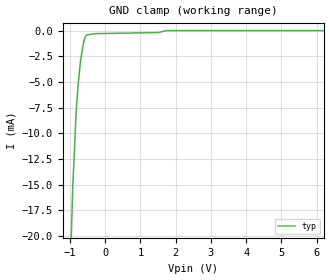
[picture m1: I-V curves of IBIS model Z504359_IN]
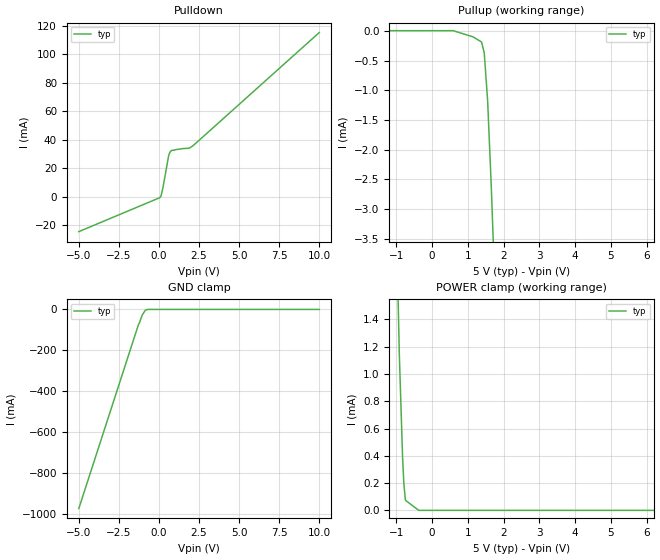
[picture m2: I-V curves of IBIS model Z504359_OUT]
| YOU ARE ONLY AUTHORIZED TO USE THIS SOFTWARE
| ACCORDING TO LICENSOR'S LICENSE RESTRICTIONS.
[IBIS Ver] 3.1
[File Name] sn54ls04j.ibs
[File Rev] 2.0
[Source] Measured and created by ICX Technology
[Date] Friday 7/14/00 9:08:13 AM
[Copyright]
| (C) COPYRIGHT 1993-2000
| MENTOR GRAPHICS CORPORATION
| ICX STANDARD LIBRARY, ICX PROJECT MODELING,
| ICX CUSTOM MODELING, ICX VENDOR MODEL
| ALL RIGHTS RESERVED.
| THE FOLLOWING ARE TRADEMARKS OR SERVICE MARKS OF
| MENTOR GRAPHICS CORPORATION:ICX (R), ICX STANDARD
| LIBRARY(R), ICX PROJECT MODELING(R), ICX CUSTOM
| MODELING(R), qualityIBIS(TM), MODELVIEWER(TM),
| AND MODELEDITOR(TM)
| ALL COPIES OF SOFTWARE, INCLUDING BUT NOT LIMITED TO
| ANY MODIFICATIONS, ENHANCEMENTS OR DERIVATIVE WORKS,
| MUST CONTAIN ALL MENTOR GRAPHICS CORPORATION'S
| NOTICES AND LEGENDS, INCLUDING THOSE EMBEDDED IN
| SOFTWARE AND THOSE AFFIXED TO SOFTWARE MEDIUM
| AND CONTAINER, AS RECEIVED FROM MENTOR GRAPHICS
| CORPORATION.
|  ZAP Model Builder 2.7
[Component] SN54LS04J
[Manufacturer] OnSemiconductor
[Package]
| variable   typ   min   max
R_pkg  .21ohms NA NA
L_pkg  4.543nH NA NA
C_pkg  1.8pF NA NA
[Pin] signal_name  model_name  R_pin  L_pin C_pin
1 A Z504359_IN .22 6.757n 2.434p
2 Y Z504359_OUT .212 4.757n 1.941p
3 A Z504359_IN .204 3.257n 1.448p
4 Y Z504359_OUT .196 2.257n .955p
5 A Z504359_IN .204 3.257n 1.448p
6 Y Z504359_OUT .212 4.757n 1.941p
7 GND GND .22 6.757n 2.434p
8 Y Z504359_OUT .22 6.757n 2.434p
9 A Z504359_IN .212 4.757n 1.941p
10 Y Z504359_OUT .204 3.257n 1.448p
11 A Z504359_IN .196 2.257n .955p
12 Y Z504359_OUT .204 3.257n 1.448p
13 A Z504359_IN .212 4.757n 1.941p
14 VCC POWER .22 6.757n 2.434p
| Models and submodels in the file (2): Z504359_IN (Input), Z504359_OUT (Output)
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| (C) COPYRIGHT 1993-2000
| MENTOR GRAPHICS CORPORATION
| ICX STANDARD LIBRARY, ICX PROJECT MODELING,
| ICX CUSTOM MODELING, ICX VENDOR MODEL
| ALL RIGHTS RESERVED.
| THE FOLLOWING ARE TRADEMARKS OR SERVICE MARKS OF
| MENTOR GRAPHICS CORPORATION:ICX (R), ICX STANDARD
| LIBRARY(R), ICX PROJECT MODELING(R), ICX CUSTOM
| MODELING(R), qualityIBIS(TM), MODELVIEWER(TM),
| AND MODELEDITOR(TM)
| ALL COPIES OF SOFTWARE, INCLUDING BUT NOT LIMITED TO
| ANY MODIFICATIONS, ENHANCEMENTS OR DERIVATIVE WORKS,
| MUST CONTAIN ALL MENTOR GRAPHICS CORPORATION'S
| NOTICES AND LEGENDS, INCLUDING THOSE EMBEDDED IN
| SOFTWARE AND THOSE AFFIXED TO SOFTWARE MEDIUM
| AND CONTAINER, AS RECEIVED FROM MENTOR GRAPHICS
| CORPORATION.
| Model Application Version 1.89 2/18/99.
[Model] Z504359_IN
Model_type Input
Vinl = 800.0mV
Vinh = 2.000V
C_comp 4.000pF NA NA
| variable typ   min   max
[Voltage Range] 5.000V NA NA
[GND Clamp Reference] 0.000V NA NA
[POWER Clamp Reference] 5.000V NA NA
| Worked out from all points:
|   GND clamp passes 1 mA (typ) near -0.60 V on its own axis
[GND Clamp]
-5V       -479.9mA   NA         NA
-913.7mV  -14.96mA   NA         NA
-824.1mV  -8.13mA    NA         NA
-771.5mV  -5.53mA    NA         NA
-698.5mV  -2.991mA   NA         NA
-600.1mV  -982.4uA   NA         NA
-563.9mV  -629.8uA   NA         NA
-527.3mV  -431.5uA   NA         NA
-263.7mV  -301.5uA   NA         NA
1.525V    -195.2uA   NA         NA
1.724V    -5.916uA   NA         NA
10V       -5.916uA   NA         NA
[POWER Clamp]
-5V       0A         NA         NA
10V       0A         NA         NA
| (C) COPYRIGHT 1993-2000
| MENTOR GRAPHICS CORPORATION
| ICX STANDARD LIBRARY, ICX PROJECT MODELING,
| ICX CUSTOM MODELING, ICX VENDOR MODEL
| ALL RIGHTS RESERVED.
| THE FOLLOWING ARE TRADEMARKS OR SERVICE MARKS OF
| MENTOR GRAPHICS CORPORATION:ICX (R), ICX STANDARD
| LIBRARY(R), ICX PROJECT MODELING(R), ICX CUSTOM
| MODELING(R), qualityIBIS(TM), MODELVIEWER(TM),
| AND MODELEDITOR(TM)
| ALL COPIES OF SOFTWARE, INCLUDING BUT NOT LIMITED TO
| ANY MODIFICATIONS, ENHANCEMENTS OR DERIVATIVE WORKS,
| MUST CONTAIN ALL MENTOR GRAPHICS CORPORATION'S
| NOTICES AND LEGENDS, INCLUDING THOSE EMBEDDED IN
| SOFTWARE AND THOSE AFFIXED TO SOFTWARE MEDIUM
| AND CONTAINER, AS RECEIVED FROM MENTOR GRAPHICS
| CORPORATION.
| Model Application Version 1.89 2/18/99.
[Model] Z504359_OUT
Model_type Output
Vref=5.000V
Rref=2.000kohms
Cref=15.00pF
Vmeas=1.300V
C_comp 8.000pF NA NA
| variable typ   min   max
[Voltage Range] 5.000V NA NA
[POWER Clamp Reference] 5.000V NA NA
[Pullup Reference] 5.000V NA NA
[Pulldown Reference] 0.000V NA NA
[GND Clamp Reference] 0.000V NA NA
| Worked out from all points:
|   slope of the pulldown table from 0 to 0.75 V, typ, clamps not added: 22.6 ohm
|   slope of the pullup table from 0 to 0.75 V, typ, clamps not added: 24.6 kohm
|   GND clamp passes 1 mA (typ) near -0.74 V on its own axis
|   POWER clamp passes 1 mA (typ) near -0.90 V on its own axis
[GND Clamp]
-5V       -972.4mA   NA         NA
-1.279V   -74.19mA   NA         NA
-1.191V   -61.07mA   NA         NA
-1.101V   -38.2mA    NA         NA
-1.015V   -24.04mA   NA         NA
-874mV    -6.755mA   NA         NA
-820.3mV  -2.618mA   NA         NA
-683.6mV  0A         NA         NA
10V       0A         NA         NA
[Pulldown]
-5V       -24.61mA   NA         NA
68.44mV   -517.1uA   NA         NA
131.5mV   556.9uA    NA         NA
243mV     5.879mA    NA         NA
596.2mV   28.24mA    NA         NA
654.2mV   30.47mA    NA         NA
713.9mV   31.79mA    NA         NA
1.05V     33.05mA    NA         NA
1.846V    34.01mA    NA         NA
2.187V    36.42mA    NA         NA
10V       115.4mA    NA         NA
[Pullup]
-5V       8.248uA    NA         NA
586mV     8.248uA    NA         NA
1.143V    -95.49uA   NA         NA
1.382V    -182.8uA   NA         NA
1.458V    -364.7uA   NA         NA
1.553V    -1.178mA   NA         NA
1.655V    -2.625mA   NA         NA
10V       -142.1mA   NA         NA
[POWER Clamp]
-5V       59.18mA    NA         NA
-1.045V   2.661mA    NA         NA
-918mV    1.144mA    NA         NA
-827mV    390.7uA    NA         NA
-791mV    194.3uA    NA         NA
-747mV    73.95uA    NA         NA
-373.5mV  0A         NA         NA
10V       0A         NA         NA
[Ramp]
| variable typ min max
dV/dt_r 1.824/4.335n NA NA
dV/dt_f 1.824/1.871n NA NA
R_load = 500.0Ohms
